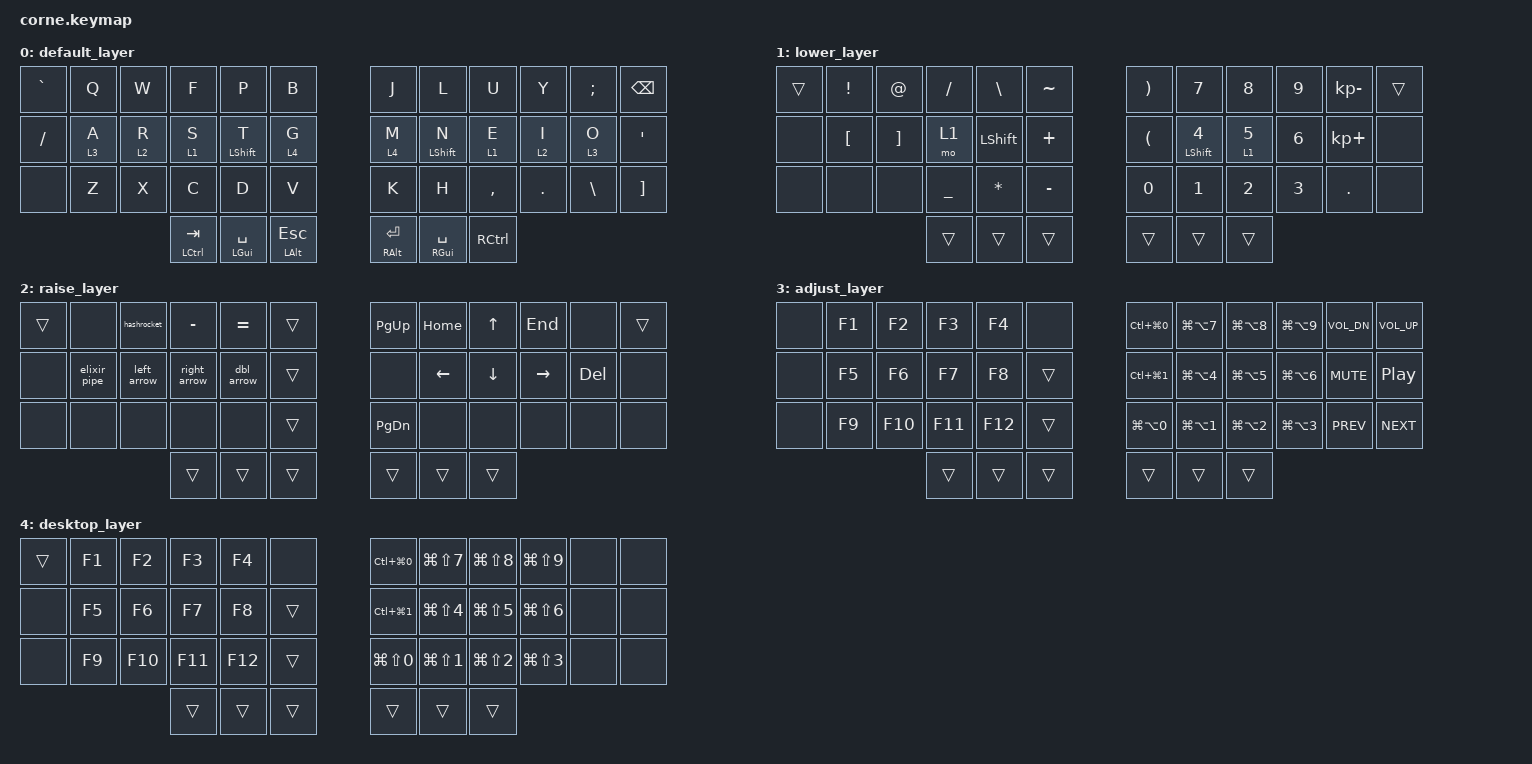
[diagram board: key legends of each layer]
#include <behaviors.dtsi>
#include <dt-bindings/zmk/bt.h>
#include <dt-bindings/zmk/keys.h>
#include <dt-bindings/zmk/outputs.h>

&mt {
    tapping-term-ms = <100>;
    flavor = "balanced";
};

&lt {
    tapping-term-ms = <100>;
    flavor = "balanced";
};

/ {
    combos {
        compatible = "zmk,combos";

        capsw {
            bindings = <&caps_word>;
            key-positions = <16 19>;
        };

        bt_down {
            bindings = <&bt BT_PRV>;
            key-positions = <24 11>;
        };

        bt_up {
            bindings = <&bt BT_NXT>;
            key-positions = <24 23>;
        };

        bt_clear_current_profile {
            bindings = <&bt BT_CLR>;
            key-positions = <24 10>;
        };

        bt_clear_all_profiles {
            bindings = <&bt BT_CLR_ALL>;
            key-positions = <24 22>;
        };

        out_toggle {
            bindings = <&out OUT_TOG>;
            key-positions = <24 34>;
        };

        sys_rst {
            bindings = <&sys_reset>;
            key-positions = <24 5>;
        };
    };

    macros {
        hashrocket: hashrocket {
            compatible = "zmk,behavior-macro";
            #binding-cells = <0>;
            bindings = <&kp LT &kp EQUAL &kp GT>;
            label = "HASHROCKET";
        };

        elixir_pipe: elixir_pipe {
            compatible = "zmk,behavior-macro";
            #binding-cells = <0>;
            bindings = <&kp PIPE &kp GT>;
            label = "ELIXIR_PIPE";
        };

        left_arrow: left_arrow {
            compatible = "zmk,behavior-macro";
            #binding-cells = <0>;
            bindings = <&kp LT &kp MINUS>;
            label = "LEFT_ARROW";
        };

        right_arrow: right_arrow {
            compatible = "zmk,behavior-macro";
            #binding-cells = <0>;
            bindings = <&kp MINUS &kp GT>;
            label = "RIGHT_ARROW";
        };

        dbl_arrow: dbl_arrow {
            compatible = "zmk,behavior-macro";
            #binding-cells = <0>;
            bindings = <&kp EQUAL &kp GT>;
            label = "DBL_ARROW";
        };
    };

    behaviors {
        hml: homerow_mods_left {
            compatible = "zmk,behavior-hold-tap";
            label = "HML";
            bindings = <&kp>, <&kp>;

            #binding-cells = <2>;
            tapping-term-ms = <100>;
            hold-trigger-key-positions = <6 7 8 9 10 11 18 19 20 21 22 23 30 31 32 33 34 35 39 40 41>;
        };

        hmr: homerow_mods_right {
            compatible = "zmk,behavior-hold-tap";
            label = "HMR";
            bindings = <&kp>, <&kp>;

            #binding-cells = <2>;
            tapping-term-ms = <100>;
            hold-trigger-key-positions = <0 1 2 3 4 5 12 13 14 15 16 17 24 25 26 27 28 29 36 37 38>;
        };
    };

    keymap {
        compatible = "zmk,keymap";

        default_layer {
            // +-------+-------+-------+-------+-------+-------+   +-------+-------+-------+-------+-------+-------+
            // |   `   |   q   |   w   |   f   |   p   |   b   |   |   j   |   l   |   u   |   y   |   ;   | BSPC  |
            // +-------+-------+-------+-------+-------+-------+   +-------+-------+-------+-------+-------+-------+
            // | NONE  | a/LT3 | r/LT2 | s/LT1 | t/LS  | g/LT4 |   | m/LT4 | n/RS  | e/LT1 | i/LT2 | o/LT3 |   '   |
            // +-------+-------+-------+-------+-------+-------+   +-------+-------+-------+-------+-------+-------+
            // | NONE  |   z   |   x   |   c   |   d   |   v   |   |   k   |   h   |   ,   |   .   |   \   |   ]   |
            // +-------+-------+-------+-------+-------+-------+   +-------+-------+-------+-------+-------+-------+
            //                         |TAB/LC |SPC/LG |ESC/LA |   |RET/RA |SPC/RG |TAB/RC |
            //                         +-------+-------+-------+   +-------+-------+-------+

            bindings = <
&kp GRAVE  &kp Q    &kp W    &kp F           &kp P            &kp B               &kp J            &kp L            &kp U      &kp Y    &kp SEMI  &kp BSPC
&kp SLASH  &lt 3 A  &lt 2 R  &lt 1 S         &hml LSHFT T     &lt 4 G             &lt 4 M          &hmr LSHFT N     &lt 1 E    &lt 2 I  &lt 3 O   &kp APOS
&none      &kp Z    &kp X    &kp C           &kp D            &kp V               &kp K            &kp H            &kp COMMA  &kp DOT  &kp BSLH  &kp RBKT
                             &hml LCTRL TAB  &hml LGUI SPACE  &hml LALT ESCAPE    &hmr RALT ENTER  &hmr RGUI SPACE  &kp RCTRL
            >;
        };

        lower_layer {
            // +-------+-------+-------+-------+-------+-------+   +-------+-------+-------+-------+-------+-------+
            // | TRANS |   !   |   @   |   /   |   \   |   ~   |   |   )   |   7   |   8   |   9   | NONE  | TRANS |
            // +-------+-------+-------+-------+-------+-------+   +-------+-------+-------+-------+-------+-------+
            // | NONE  |   [   |   ]   | MO 1  | LShift|   +   |   |   (   | 4/RS  |   5   |   6   | NONE  | NONE  |
            // +-------+-------+-------+-------+-------+-------+   +-------+-------+-------+-------+-------+-------+
            // | NONE  | NONE  | NONE  |   _   |   *   |   -   |   |   0   |   1   |   2   |   3   | NONE  | NONE  |
            // +-------+-------+-------+-------+-------+-------+   +-------+-------+-------+-------+-------+-------+
            //                         | TRANS | TRANS | TRANS |   | TRANS | TRANS | TRANS |
            //                         +-------+-------+-------+   +-------+-------+-------+

            bindings = <
&trans  &kp EXCL  &kp AT    &kp FSLH   &kp BSLH   &kp TILDE    &kp RPAR  &kp N7         &kp N8    &kp N9  &kp KP_SUBTRACT  &trans
&none   &kp LBKT  &kp RBKT  &mo 1      &kp LSHFT  &kp PLUS     &kp LPAR  &hmr LSHFT N4  &lt 1 N5  &kp N6  &kp KP_PLUS      &none
&none   &none     &none     &kp UNDER  &kp STAR   &kp MINUS    &kp N0    &kp N1         &kp N2    &kp N3  &kp DOT          &none
                            &trans     &trans     &trans       &trans    &trans         &trans
            >;
        };

        raise_layer {
            // +-------+-------+-------+-------+-------+-------+   +-------+-------+-------+-------+-------+-------+
            // | TRANS | NONE  |  <=>  |   -   |   =   | TRANS |   | PGUP  | HOME  |   UP  |  END  | NONE  | TRANS |
            // +-------+-------+-------+-------+-------+-------+   +-------+-------+-------+-------+-------+-------+
            // | NONE  |  |>   |  <-   |  ->   |   =>  | TRANS |   | NONE  | LEFT  | DOWN  | RIGHT |  DEL  | NONE  |
            // +-------+-------+-------+-------+-------+-------+   +-------+-------+-------+-------+-------+-------+
            // | NONE  | NONE  | NONE  | NONE  | NONE  | TRANS |   | PGDN  | NONE  | NONE  | NONE  | NONE  | NONE  |
            // +-------+-------+-------+-------+-------+-------+   +-------+-------+-------+-------+-------+-------+
            //                         | TRANS | TRANS | TRANS |   | TRANS | TRANS | TRANS |
            //                         +-------+-------+-------+   +-------+-------+-------+

            bindings = <
&trans  &none         &hashrocket  &kp MINUS     &kp EQUAL   &trans    &kp PG_UP  &kp HOME  &kp UP    &kp END    &none    &trans
&none   &elixir_pipe  &left_arrow  &right_arrow  &dbl_arrow  &trans    &none      &kp LEFT  &kp DOWN  &kp RIGHT  &kp DEL  &none
&none   &none         &none        &none         &none       &trans    &kp PG_DN  &none     &none     &none      &none    &none
                                   &trans        &trans      &trans    &trans     &trans    &trans
            >;
        };

        adjust_layer {
            // +-------+-------+-------+-------+-------+-------+   +-------+-------+-------+-------+-------+-------+
            // | TRANS |  F1   |  F2   |  F3   |  F4   | BOOTL |   |balance| DT 7  | DT 8  | DT 9  | VOL - | VOL + |
            // +-------+-------+-------+-------+-------+-------+   +-------+-------+-------+-------+-------+-------+
            // |sys_res|  F5   |  F6   |  F7   |  F8   | TRANS |   |  bsp  | DT 4  | DT 5  | DT 6  |  MUTE | PL/PA |
            // +-------+-------+-------+-------+-------+-------+   +-------+-------+-------+-------+-------+-------+
            // |out_tog|  F9   |  F10  |  F11  |  F12  | TRANS |   | DT 0  | DT 1  | DT 2  | DT 3  |  PREV | NEXT  |
            // +-------+-------+-------+-------+-------+-------+   +-------+-------+-------+-------+-------+-------+
            //                         | TRANS | TRANS | TRANS |   | TRANS | TRANS | TRANS |
            //                         +-------+-------+-------+   +-------+-------+-------+

            bindings = <
&none  &kp F1  &kp F2   &kp F3   &kp F4   &none     &kp LC(LG(N0))  &kp LG(LA(N7))  &kp LG(LA(N8))  &kp LG(LA(N9))  &kp C_VOL_DN  &kp C_VOL_UP
&none  &kp F5  &kp F6   &kp F7   &kp F8   &trans    &kp LC(LG(N1))  &kp LG(LA(N4))  &kp LG(LA(N5))  &kp LG(LA(N6))  &kp K_MUTE    &kp C_PLAY_PAUSE
&none  &kp F9  &kp F10  &kp F11  &kp F12  &trans    &kp LG(LA(N0))  &kp LG(LA(N1))  &kp LG(LA(N2))  &kp LG(LA(N3))  &kp C_PREV    &kp C_NEXT
                        &trans   &trans   &trans    &trans          &trans          &trans
            >;
        };

        desktop_layer {
            // +-------+-------+-------+-------+-------+-------+   +-------+-------+-------+-------+-------+-------+
            // | TRANS |  F1   |  F2   |  F3   |  F4   | NONE  |   |balance| TDT7  | TDT8  | TDT9  | NONE  | NONE  |
            // +-------+-------+-------+-------+-------+-------+   +-------+-------+-------+-------+-------+-------+
            // | NONE  |  F5   |  F6   |  F7   |  F8   | TRANS |   |  bsp  | TDT4  | TDT5  | TDT6  | NONE  | NONE  |
            // +-------+-------+-------+-------+-------+-------+   +-------+-------+-------+-------+-------+-------+
            // | NONE  |  F9   |  F10  |  F11  |  F12  | TRANS |   | TDT0  | TDT1  | TDT2  | TDT3  | NONE  | NONE  |
            // +-------+-------+-------+-------+-------+-------+   +-------+-------+-------+-------+-------+-------+
            //                         | TRANS | TRANS | TRANS |   | TRANS | TRANS | TRANS |
            //                         +-------+-------+-------+   +-------+-------+-------+

            bindings = <
&trans  &kp F1  &kp F2   &kp F3   &kp F4   &none     &kp LC(LG(N0))  &kp LG(LS(N7))  &kp LG(LS(N8))  &kp LG(LS(N9))  &none  &none
&none   &kp F5  &kp F6   &kp F7   &kp F8   &trans    &kp LC(LG(N1))  &kp LG(LS(N4))  &kp LG(LS(N5))  &kp LG(LS(N6))  &none  &none
&none   &kp F9  &kp F10  &kp F11  &kp F12  &trans    &kp LG(LS(N0))  &kp LG(LS(N1))  &kp LG(LS(N2))  &kp LG(LS(N3))  &none  &none
                         &trans   &trans   &trans    &trans          &trans          &trans
            >;
        };
    };
};
